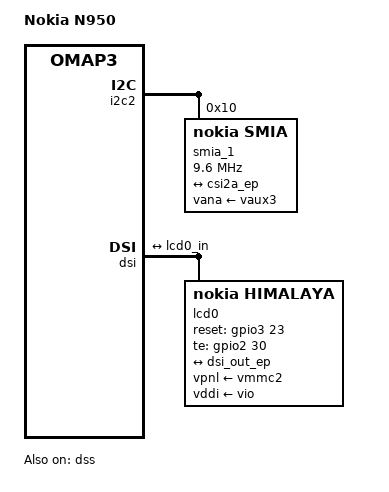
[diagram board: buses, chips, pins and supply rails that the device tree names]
/*
 * omap3-n950.dts - Device Tree file for Nokia N950
 *
 * Written by: Aaro Koskinen <aaro.koskinen@iki.fi>
 *
 * This program is free software; you can redistribute it and/or modify
 * it under the terms of the GNU General Public License version 2 as
 * published by the Free Software Foundation.
 */

/dts-v1/;

#include "omap3-n950-n9.dtsi"

/ {
	model = "Nokia N950";
	compatible = "nokia,omap3-n950", "ti,omap36xx", "ti,omap3";
};

&omap3_pmx_core {
	dsi_pins: pinmux_dsi_pins {
		pinctrl-single,pins = <
			OMAP3_CORE1_IOPAD(0x20dc, PIN_OUTPUT | MUX_MODE1) /* dsi_dx0 - data0+ */
			OMAP3_CORE1_IOPAD(0x20de, PIN_OUTPUT | MUX_MODE1) /* dsi_dy0 - data0- */
			OMAP3_CORE1_IOPAD(0x20e0, PIN_OUTPUT | MUX_MODE1) /* dsi_dx1 - clk+   */
			OMAP3_CORE1_IOPAD(0x20e2, PIN_OUTPUT | MUX_MODE1) /* dsi_dy1 - clk-   */
			OMAP3_CORE1_IOPAD(0x20e4, PIN_OUTPUT | MUX_MODE1) /* dsi_dx2 - data1+ */
			OMAP3_CORE1_IOPAD(0x20e6, PIN_OUTPUT | MUX_MODE1) /* dsi_dy2 - data1- */
		>;
	};

	display_pins: pinmux_display_pins {
		pinctrl-single,pins = <
			OMAP3_CORE1_IOPAD(0x20ca, PIN_INPUT | MUX_MODE4) /* gpio 62 - display te */
			OMAP3_CORE1_IOPAD(0x20fe, PIN_OUTPUT | MUX_MODE4) /* gpio 87 - display reset */
		>;
	};
};

&i2c2 {
	smia_1: camera@10 {
		compatible = "nokia,smia";
		reg = <0x10>;
		/* No reset gpio */
		vana-supply = <&vaux3>;
		clocks = <&isp 0>;
		clock-frequency = <9600000>;
		nokia,nvm-size = <(16 * 64)>;
		port {
			smia_1_1: endpoint {
				link-frequencies = /bits/ 64 <210000000 333600000 398400000>;
				clock-lanes = <0>;
				data-lanes = <1 2>;
				remote-endpoint = <&csi2a_ep>;
			};
		};
	};
};

&isp {
	vdd-csiphy1-supply = <&vaux2>;
	vdd-csiphy2-supply = <&vaux2>;
	ports {
		port@2 {
			reg = <2>;
			csi2a_ep: endpoint {
				remote-endpoint = <&smia_1_1>;
				clock-lanes = <2>;
				data-lanes = <3 1>;
				crc = <1>;
				lane-polarities = <1 1 1>;
			};
		};
	};
};

&dss {
	status = "ok";

	vdda_video-supply = <&vdac>;
};

&dsi {
	status = "ok";

	pinctrl-names = "default";
	pinctrl-0 = <&dsi_pins>;

	vdd-supply = <&vpll2>;

	port {
		dsi_out_ep: endpoint {
			remote-endpoint = <&lcd0_in>;
			lanes = <2 3 0 1 4 5>;
		};
	};

	lcd0: display {
		compatible = "nokia,himalaya", "panel-dsi-cm";
		label = "lcd0";

		pinctrl-names = "default";
		pinctrl-0 = <&display_pins>;

		vpnl-supply = <&vmmc2>;
		vddi-supply = <&vio>;

		reset-gpios = <&gpio3 23 GPIO_ACTIVE_HIGH>;	/* 87 */
		te-gpios = <&gpio2 30 GPIO_ACTIVE_HIGH>;	/* 62 */

		has-dsi-backlight;

		/* panel is 480x464 with top and bottom 5 lines not visible */
		/* physical dimensions: 48960µm x 88128µm */
		resolution-x = <480>;
		resolution-y = <854>;
		offset-x = <0>;
		offset-y = <5>;

		port {
			lcd0_in: endpoint {
				remote-endpoint = <&dsi_out_ep>;
			};
		};
	};
};
